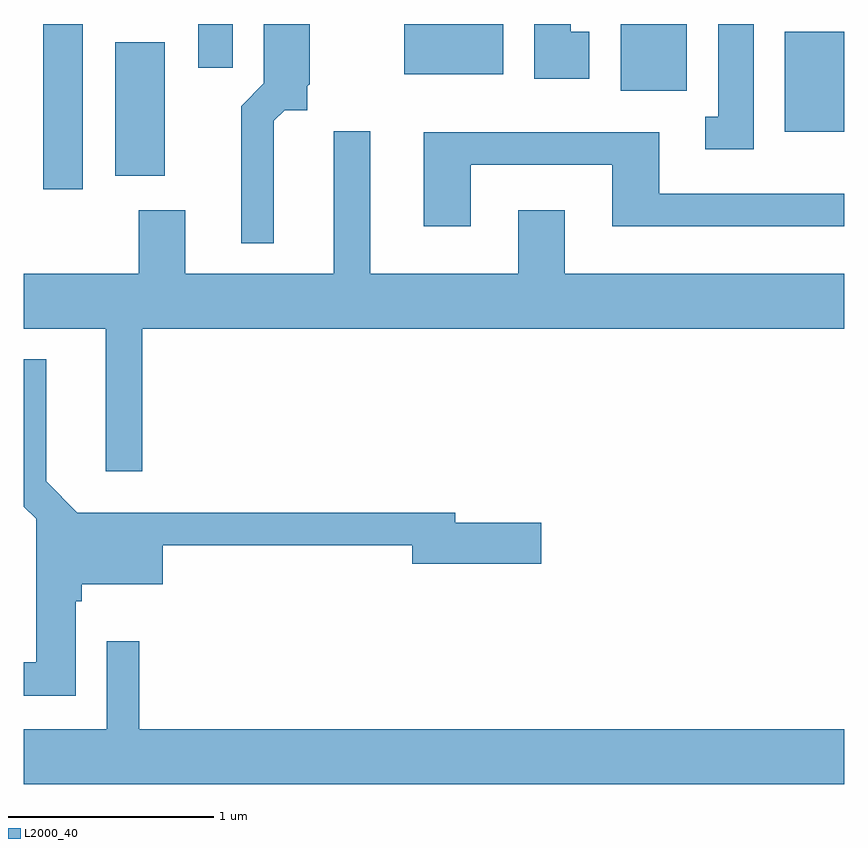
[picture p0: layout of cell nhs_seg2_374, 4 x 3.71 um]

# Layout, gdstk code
import gdstk
lib = gdstk.Library(unit=1e-6, precision=1e-09)
def R(c, l, rs):  # rectangles x0, y0, x1, y1
    for r in rs: c.add(gdstk.rectangle(r[:2], r[2:], *l))
def P(c, l, *ps):  # polygons
    for p in ps: c.add(gdstk.Polygon(p, *l))
L2000_40 = (2000, 40)

nhs_seg2_374 = lib.new_cell('nhs_seg2_374')
R(nhs_seg2_374, L2000_40, [(195.706,1048.996,195.899,1049.802), (196.056,1049.061,196.299,1049.714), (199.321,1049.276,199.611,1049.764), (198.521,1049.476,198.844,1049.802), (197.466,1049.556,197.949,1049.802), (196.461,1049.588,196.629,1049.802)])
P(nhs_seg2_374, L2000_40, [(198.369,1049.764),(198.279,1049.764),(198.279,1049.802),(198.101,1049.802),(198.101,1049.536),(198.369,1049.536)],
  [(196.829,1049.329),(196.882,1049.381),(196.994,1049.381),(196.994,1049.499),(197.004,1049.509),(197.004,1049.802),(196.781,1049.802),(196.781,1049.512),(196.671,1049.402),(196.671,1048.733),(196.829,1048.733)],
  [(199.169,1049.802),(198.996,1049.802),(198.996,1049.349),(198.933,1049.349),(198.933,1049.191),(199.169,1049.191)],
  [(196.189,1048.316),(199.611,1048.316),(199.611,1048.584),(198.249,1048.584),(198.249,1048.894),(198.021,1048.894),(198.021,1048.584),(197.299,1048.584),(197.299,1049.279),(197.121,1049.279),(197.121,1048.584),(196.399,1048.584),(196.399,1048.894),(196.171,1048.894),(196.171,1048.584),(195.611,1048.584),(195.611,1048.316),(196.011,1048.316),(196.011,1047.621),(196.189,1047.621)],
  [(197.789,1049.116),(198.481,1049.116),(198.481,1048.816),(199.611,1048.816),(199.611,1048.974),(198.709,1048.974),(198.709,1049.274),(197.561,1049.274),(197.561,1048.816),(197.789,1048.816)],
  [(195.864,1046.986),(195.894,1046.986),(195.894,1047.071),(196.289,1047.071),(196.289,1047.261),(197.506,1047.261),(197.506,1047.171),(198.134,1047.171),(198.134,1047.369),(197.714,1047.369),(197.714,1047.419),(195.872,1047.419),(195.719,1047.572),(195.719,1048.168),(195.611,1048.168),(195.611,1047.448),(195.671,1047.389),(195.671,1046.689),(195.611,1046.689),(195.611,1046.526),(195.864,1046.526)],
  [(199.611,1046.364),(196.174,1046.364),(196.174,1046.793),(196.016,1046.793),(196.016,1046.364),(195.611,1046.364),(195.611,1046.096),(199.611,1046.096)])

lib.write_gds('nhs_seg2_374.gds')
